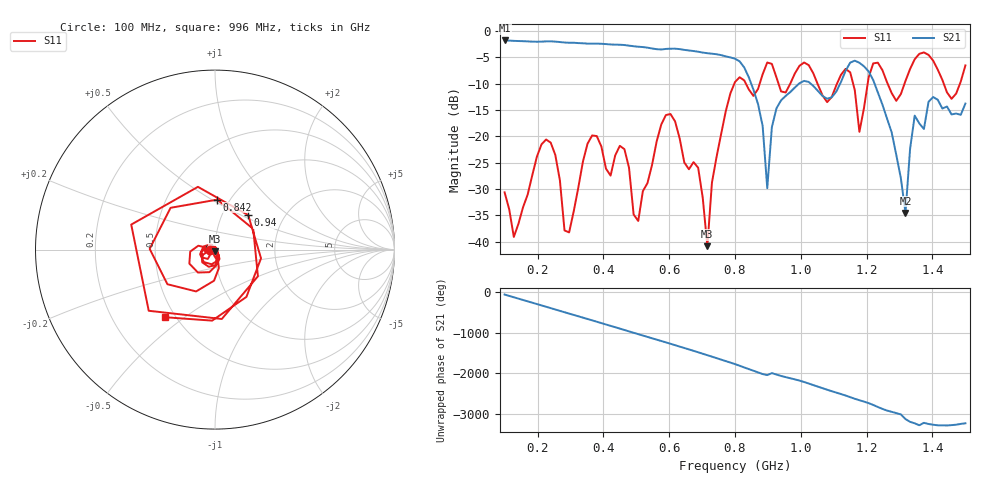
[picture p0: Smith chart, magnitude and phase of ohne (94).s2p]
! NanoVNA-App
! Date: 2025-09-25 14:21:32
! Start: 100MHz Stop: 1,5GHz Points: 101
! S-Parameter data: F S11 S21 S12 S22
# Hz S RI R 50
!  Frequency  S11_Real  S11_Imag  S21_Real  S21_Imag  S12_Real  S12_Imag  S22_Real  S22_Imag
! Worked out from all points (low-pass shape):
!   101 points, 100 MHz to 1.5 GHz, reference 50 ohm
!   highest |S21| = -1.79 dB at 100 MHz (marker M1); lowest = -34.5 dB at 1.318 GHz (marker M2)
!   |S21| within 3 dB of the highest: start of sweep to 770.4 MHz
!   lowest |S11| = -40.9 dB at 716 MHz (marker M3), VSWR 1.02, Z = 49.9 - j0.892 ohm
!   |S11| at or under -10 dB: start of sweep to 798 MHz; 833.1 MHz to 875 MHz (41.97 MHz wide, 4.91 % of centre); 1.051 GHz to 1.11 GHz (59.21 MHz wide, 5.48 % of centre) (the widest 3 of 7)
!   S12 and S22 are empty: the file has one direction only
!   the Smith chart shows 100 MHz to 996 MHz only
!   S11 on the Smith chart (normalised r, x): 100 MHz: 0.94, -0.01; 842 MHz: 0.88, +0.53; 940 MHz: 1.32, +0.55; 996 MHz: 0.44, -0.42
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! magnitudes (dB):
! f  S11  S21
! 100 MHz  -30.6  -1.8
! 128 MHz  -39.1  -1.9
! 226 MHz  -20.6  -2.0
! 296 MHz  -38.2  -2.2
! 338 MHz  -24.8  -2.3
! 464 MHz  -22.4  -2.7
! 506 MHz  -36.1  -3.0
! 576 MHz  -17.8  -3.5
! 688 MHz  -26.0  -3.9
! 716 MHz  -40.9  -4.2
! 800 MHz  -9.7  -5.3
! 842 MHz  -11.1  -8.8
! 898 MHz  -6.0  -29.9
! 940 MHz  -11.5  -13.2
! 996 MHz  -6.6  -9.9
! 1.038 GHz  -8.0  -10.4
! 1.178 GHz  -19.1  -6.0
! 1.22 GHz  -6.1  -9.3
! 1.276 GHz  -11.8  -19.3
! 1.318 GHz  -9.5  -34.5
! 1.346 GHz  -5.4  -16.1
! 1.5 GHz  -6.5  -13.8
